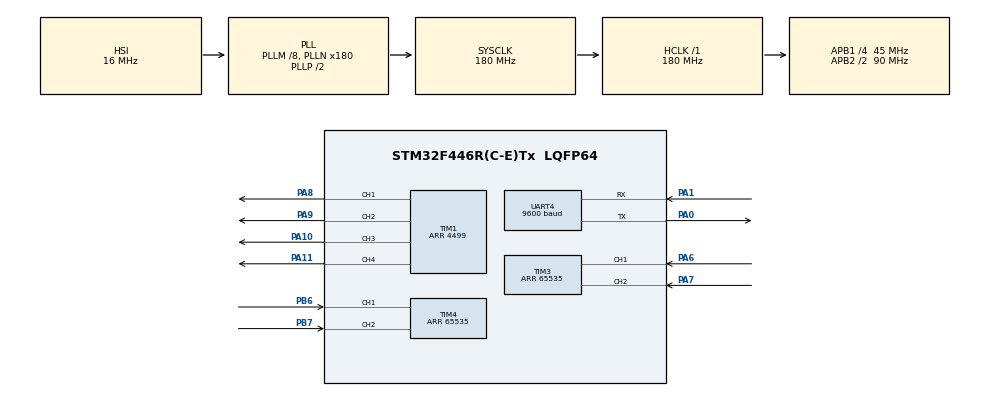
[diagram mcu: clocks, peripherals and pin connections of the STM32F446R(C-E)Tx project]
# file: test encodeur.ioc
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Mcu.Family=STM32F4
Mcu.Name=STM32F446R(C-E)Tx
Mcu.Package=LQFP64
NVIC.PriorityGroup=NVIC_PRIORITYGROUP_0
NVIC.TIM7_IRQn=true\:0\:0\:false\:false\:true\:true\:true
PA0-WKUP.Mode=Asynchronous
PA0-WKUP.Signal=UART4_TX
PA1.Mode=Asynchronous
PA1.Signal=UART4_RX
PA10.Signal=S_TIM1_CH3
PA11.Signal=S_TIM1_CH4
PA6.GPIO_PuPd=GPIO_PULLUP
PA6.Signal=S_TIM3_CH1
PA7.GPIO_PuPd=GPIO_PULLUP
PA7.Signal=S_TIM3_CH2
PA8.Signal=S_TIM1_CH1
PA9.Signal=S_TIM1_CH2
PB6.GPIO_PuPd=GPIO_PULLUP
PB6.Signal=S_TIM4_CH1
PB7.GPIO_PuPd=GPIO_PULLUP
PB7.Signal=S_TIM4_CH2
ProjectManager.HeapSize=0x200
ProjectManager.StackSize=0x400
ProjectManager.TargetToolchain=MDK-ARM V5
RCC.48MHZClocksFreq_Value=84000000
RCC.AHBFreq_Value=180000000
RCC.APB1CLKDivider=RCC_HCLK_DIV4
RCC.APB1Freq_Value=45000000
RCC.APB1TimFreq_Value=90000000
RCC.APB2CLKDivider=RCC_HCLK_DIV2
RCC.APB2Freq_Value=90000000
RCC.APB2TimFreq_Value=180000000
RCC.CortexFreq_Value=180000000
RCC.FLatency-AdvancedSettings=FLASH_LATENCY_5
RCC.HCLKFreq_Value=180000000
RCC.HSE_VALUE=8000000
RCC.HSI_VALUE=16000000
RCC.PLLM=8
RCC.PLLN=180
RCC.SYSCLKFreq_VALUE=180000000
RCC.SYSCLKSource=RCC_SYSCLKSOURCE_PLLCLK
RCC.USBFreq_Value=180000000
RCC.VCOOutputFreq_Value=360000000
SH.S_TIM1_CH1.0=TIM1_CH1,PWM Generation1 CH1
SH.S_TIM1_CH2.0=TIM1_CH2,PWM Generation2 CH2
SH.S_TIM1_CH3.0=TIM1_CH3,PWM Generation3 CH3
SH.S_TIM1_CH4.0=TIM1_CH4,PWM Generation4 CH4
SH.S_TIM3_CH1.0=TIM3_CH1,Encoder_Interface
SH.S_TIM3_CH2.0=TIM3_CH2,Encoder_Interface
SH.S_TIM4_CH1.0=TIM4_CH1,Encoder_Interface
SH.S_TIM4_CH2.0=TIM4_CH2,Encoder_Interface
TIM1.Channel-PWM\ Generation1\ CH1=TIM_CHANNEL_1
TIM1.Channel-PWM\ Generation2\ CH2=TIM_CHANNEL_2
TIM1.Channel-PWM\ Generation3\ CH3=TIM_CHANNEL_3
TIM1.Channel-PWM\ Generation4\ CH4=TIM_CHANNEL_4
TIM1.Period=4499
TIM3.EncoderMode=TIM_ENCODERMODE_TI12
TIM3.Period=65535
TIM4.EncoderMode=TIM_ENCODERMODE_TI12
TIM4.Period=65535
TIM7.Period=999
TIM7.Prescaler=83
UART4.BaudRate=9600
UART4.VirtualMode=Asynchronous
VP_TIM7_VS_ClockSourceINT.Mode=Enable_Timer
board=NUCLEO-F446RE

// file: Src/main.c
/* USER CODE BEGIN Header */
/**
  ******************************************************************************
  * @file           : main.c
  * @brief          : Main program body
  ******************************************************************************
  * @attention
  *
  * <h2><center>&copy; Copyright (c) 2019 STMicroelectronics.
  * All rights reserved.</center></h2>
  *
  * This software component is licensed by ST under BSD 3-Clause license,
  * the "License"; You may not use this file except in compliance with the
  * License. You may obtain a copy of the License at:
  *                        opensource.org/licenses/BSD-3-Clause
  *
  ******************************************************************************
  */
/* USER CODE END Header */

#include "main.h"
#include "tim.h"
#include "usart.h"
#include "gpio.h"

/* USER CODE BEGIN Includes */
#include "Odometry.h"
#include "Motors.h"
#include "Robot_Navi_Euro20.h"
/* USER CODE END Includes */

/* USER CODE BEGIN PD */
extern float current_x,current_y,current_phi_deg;
extern float total_right,total_left;
extern float** matrix;
int taille;
/* USER CODE END PD */

void SystemClock_Config(void);

int main(void)
{

  /* MCU Configuration--------------------------------------------------------*/

  /* Reset of all peripherals, Initializes the Flash interface and the Systick. */
  HAL_Init();

  /* Configure the system clock */
  SystemClock_Config();

  /* Initialize all configured peripherals */
  MX_GPIO_Init();
  MX_TIM3_Init();
  MX_TIM4_Init();
  MX_TIM1_Init();
  MX_TIM7_Init();
  MX_UART4_Init();
  /* USER CODE BEGIN 2 */
	set_dimentions(39.9858,39.9196,243,139);//291.28//291.35//39.98,39.3740.8:40.2

	set_motors(&htim1,4499,TIM_CHANNEL_4,TIM_CHANNEL_3,TIM_CHANNEL_1,TIM_CHANNEL_2);
  set_right_encoder(&htim3,TIM3,400,4,1);
	set_left_encoder(&htim4,TIM4,400,4,-1);

	HAL_TIM_Base_Start_IT(&htim7);

  /* USER CODE END 2 */

  /* Infinite loop */
  /* USER CODE BEGIN WHILE */

	set_PWM_min(900,900,900,900);

//taille=6;
//allocation(taille);

//matrix[0][0]=300;
//matrix[0][1]=-300;
//matrix[0][2]=-90;

//matrix[1][0]=0;
//matrix[1][1]=-600;
//matrix[1][2]=-180;

//matrix[2][0]=-300;
//matrix[2][1]=-900;
//matrix[2][2]=-90;

//matrix[3][0]=0;
//matrix[3][1]=-1200;
//matrix[3][2]=0;

//matrix[4][0]=300;
//matrix[4][1]=-1500;
//matrix[4][2]=-90;

//matrix[5][0]=0;
//matrix[5][1]=-1800;
//matrix[5][2]=-180;

//Robot_Locate_Multi_Curv(matrix ,taille,300);
//free(matrix);

//HAL_Delay(3000);

//uint8_t s[3] ;
//HAL_UART_Transmit(&huart4,"c",1,10);
//orientate(30,500);
//move_distance(500,700);
//HAL_UART_Transmit(&huart4,"bgm",3,10);
//HAL_Delay(750);
//HAL_UART_Transmit(&huart4,"hnda",4,10);
//Robot_Locate(0,1000,700);
//HAL_UART_Transmit(&huart4,"ek",2,10);
//HAL_Delay(500);
//HAL_UART_Transmit(&huart4,"fl",2,10);
//HAL_Delay(500);
//HAL_UART_Transmit(&huart4,"ek",2,10);
//HAL_Delay(500);
//HAL_UART_Transmit(&huart4,"fl",2,10);
//HAL_Delay(500);
//Robot_Locate(0,0,700);

//orientate(180,200);
//orientate(90,100);
//rotate(3600,200);

/*HAL_Delay(2000);

HAL_UART_Transmit(&huart4,"cb",2,10);

//////

allocation(2);
matrix[0][0]=683.46;
matrix[0][1]=-139.46;
matrix[0][2]=-51.28;

matrix[1][0]=520;
matrix[1][1]=-480;
matrix[1][2]=-180;

Robot_Locate_Multi_Curv(matrix,2,700);
HAL_UART_Transmit(&huart4,"bgm",3,10);
HAL_Delay(750);
HAL_UART_Transmit(&huart4,"hndacek",7,10);
HAL_Delay(1000);

Robot_locateCurv(189,-312.27,126.25,700);
HAL_UART_Transmit(&huart4,"flbgm",5,10);
HAL_Delay(750);
HAL_UART_Transmit(&huart4,"ekhndflac",9,10);
HAL_Delay(500);

HAL_UART_Transmit(&huart4,"b",1,10);
matrix[0][0]=819.52;
matrix[0][1]=-54.06;
matrix[0][2]=54.95;
matrix[1][0]=926.53;
matrix[1][1]=404.4;
matrix[1][2]=98.77;

Robot_Locate_Multi_Curv(matrix,2,700);
HAL_UART_Transmit(&huart4,"ekbgm",5,10);
HAL_Delay(750);
HAL_UART_Transmit(&huart4,"flhndac",7,10);
HAL_Delay(1000);*/

//rotate(720,100);

/*Robot_Locate(650.86,0.0,700);//640
Robot_Locate(650.86,160.0,700);
HAL_UART_Transmit(&huart4,"a",7,10);
HAL_Delay(8000);
move_distance(-160 ,200);
orientate(90,300);

HAL_UART_Transmit(&huart4,"c",1,10);

Robot_Locate(-265.14,0.0,700);
HAL_UART_Transmit(&huart4,"b",1,10);
HAL_Delay(4000);
move_distance(-600,200);
orientate(180,300);

HAL_UART_Transmit(&huart4,"d",1,10);
HAL_Delay(2000);

move_distance(-150,200);*/

/*Robot_locateCurv(-128.66,-422.93,180,200);
Robot_locateCurv(-780.26,-18.56,90,200);
orientate(180,300);
move_distance(-50,200);
Robot_Locate(-760.26,-547.0,700);
orientate(180,300);*///pour l'activation de la phare

/*Robot_locateCurv(145.19,-589.0,180,400);
Robot_Locate(-812.0,-587.0,700);
HAL_UART_Transmit(&huart4,"a",7,10);
HAL_Delay(8000);
move_distance(-700,200);
Robot_Locate(-50,-50,700);
HAL_UART_Transmit(&huart4,"d",1,10);
HAL_Delay(2000);*/

//Robot_Locate_Multi_Curv(matrix,2,300);

/*HAL_UART_Transmit(&huart4,"c",1,10);
HAL_Delay(1000);*/
//move_distance(1100.0,300);//640

//move_distance(500.0,300);//640
//HAL_Delay(1500);
//rotate(1800,100);
/*HAL_Delay(1500);*/
//move_distance(800.0,300);
/*HAL_Delay(1500);//640*/
//rotate(3600,100);

//HAL_UART_Transmit(&huart4,"z",1,10);
Robot_Locate(660,0,700);
Robot_Locate(660.0,155,700);//640
HAL_UART_Transmit(&huart4,"a",1,10);
HAL_Delay(4500);
move_distance(-160,700);//640
Robot_Locate(-250.0,30,700);//640
HAL_UART_Transmit(&huart4,"b",1,10);
HAL_Delay(3000);
move_distance(-545,700);//640
HAL_UART_Transmit(&huart4,"c",1,10);
HAL_Delay(1000);
move_distance(-400,700);
//Robot_locateCurv(0,250,90,200);
//Robot_locateCurv(-7,-18.56,90,200);

	while (1)
  {
    /* USER CODE END WHILE */

    /* USER CODE BEGIN 3 */
		//run_forward(2000,2000);
		//HAL_Delay(3000);
		//run_backward(2000,2000);
		//HAL_Delay(3000);

	}
  /* USER CODE END 3 */
}

void SystemClock_Config(void)
{
  RCC_OscInitTypeDef RCC_OscInitStruct = {0};
  RCC_ClkInitTypeDef RCC_ClkInitStruct = {0};

  /** Configure the main internal regulator output voltage
  */
  __HAL_RCC_PWR_CLK_ENABLE();
  __HAL_PWR_VOLTAGESCALING_CONFIG(PWR_REGULATOR_VOLTAGE_SCALE1);
  /** Initializes the CPU, AHB and APB busses clocks
  */
  RCC_OscInitStruct.OscillatorType = RCC_OSCILLATORTYPE_HSI;
  RCC_OscInitStruct.HSIState = RCC_HSI_ON;
  RCC_OscInitStruct.HSICalibrationValue = RCC_HSICALIBRATION_DEFAULT;
  RCC_OscInitStruct.PLL.PLLState = RCC_PLL_ON;
  RCC_OscInitStruct.PLL.PLLSource = RCC_PLLSOURCE_HSI;
  RCC_OscInitStruct.PLL.PLLM = 8;
  RCC_OscInitStruct.PLL.PLLN = 180;
  RCC_OscInitStruct.PLL.PLLP = RCC_PLLP_DIV2;
  RCC_OscInitStruct.PLL.PLLQ = 2;
  RCC_OscInitStruct.PLL.PLLR = 2;
  if (HAL_RCC_OscConfig(&RCC_OscInitStruct) != HAL_OK)
  {
    Error_Handler();
  }
  /** Activate the Over-Drive mode
  */
  if (HAL_PWREx_EnableOverDrive() != HAL_OK)
  {
    Error_Handler();
  }
  /** Initializes the CPU, AHB and APB busses clocks
  */
  RCC_ClkInitStruct.ClockType = RCC_CLOCKTYPE_HCLK|RCC_CLOCKTYPE_SYSCLK
                              |RCC_CLOCKTYPE_PCLK1|RCC_CLOCKTYPE_PCLK2;
  RCC_ClkInitStruct.SYSCLKSource = RCC_SYSCLKSOURCE_PLLCLK;
  RCC_ClkInitStruct.AHBCLKDivider = RCC_SYSCLK_DIV1;
  RCC_ClkInitStruct.APB1CLKDivider = RCC_HCLK_DIV4;
  RCC_ClkInitStruct.APB2CLKDivider = RCC_HCLK_DIV2;

  if (HAL_RCC_ClockConfig(&RCC_ClkInitStruct, FLASH_LATENCY_5) != HAL_OK)
  {
    Error_Handler();
  }
}

/* USER CODE BEGIN 4 */
/*void bhema()
{
	HAL_UART_Transmit(&huart4,"c",1,10);
Robot_Locate(137.58,76.44,700);
HAL_UART_Transmit(&huart4,"bgm",3,10);
HAL_Delay(750);
HAL_UART_Transmit(&huart4,"hndac",5,10);
//////

allocation(2);
matrix[0][0]=500;
matrix[0][1]=300;
matrix[0][2]=90;

matrix[1][0]=407.31;
matrix[1][1]=656.5;
matrix[1][2]=119.15;

Robot_Locate_Multi_Curv(matrix,2,700);

HAL_UART_Transmit(&huart4,"ekbgm",5,10);
HAL_Delay(1000);
HAL_UART_Transmit(&huart4,"flhndac",7,10);
HAL_Delay(500);

matrix[0][0]=53.16;
matrix[0][1]=786.63;
matrix[0][2]=-159.5;

matrix[1][0]=-377.14;
matrix[1][1]=956.83;
matrix[1][2]=116.34;

Robot_Locate_Multi_Curv(matrix,2,700);
HAL_UART_Transmit(&huart4,"bgm",3,10);
HAL_Delay(500);
HAL_UART_Transmit(&huart4,"hnda",4,10);
Robot_locateCurv(-757.87,1550,129.05,700);
orientate(-180,700);
HAL_UART_Transmit(&huart4,"c",1,10);
Robot_Locate(-1050,1550,700);
HAL_UART_Transmit(&huart4,"d",1,10);
move_distance(-100,700);
orientate(0,700);
move_distance(-100,700);
HAL_UART_Transmit(&huart4,"i",1,10);
move_distance(100,700);
HAL_UART_Transmit(&huart4,"jek",3,10);
HAL_Delay(1000);
HAL_UART_Transmit(&huart4,"ifl",3,10);
move_distance(100,700);
HAL_UART_Transmit(&huart4,"j",1,10);
Robot_Locate(0,0,700);
orientate(0,150);
}*/
/* USER CODE END 4 */

void Error_Handler(void)
{
}

/************************ (C) COPYRIGHT STMicroelectronics *****END OF FILE****/
